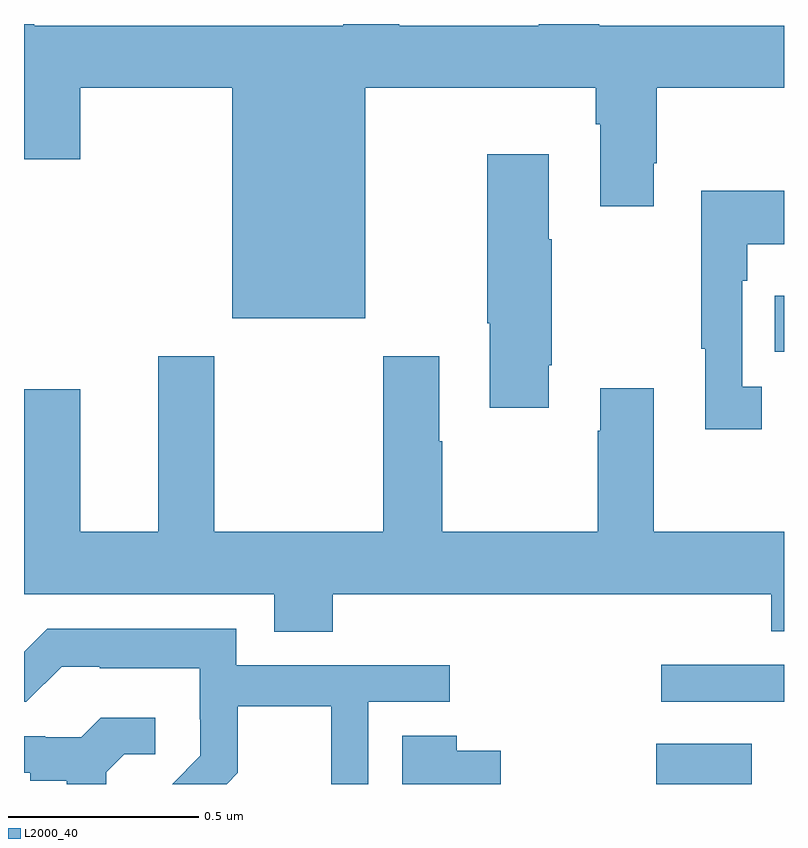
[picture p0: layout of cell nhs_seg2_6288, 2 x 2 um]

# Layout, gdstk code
import gdstk
lib = gdstk.Library(unit=1e-6, precision=1e-09)
def R(c, l, rs):  # rectangles x0, y0, x1, y1
    for r in rs: c.add(gdstk.rectangle(r[:2], r[2:], *l))
def P(c, l, *ps):  # polygons
    for p in ps: c.add(gdstk.Polygon(p, *l))
L2000_40 = (2000, 40)

nhs_seg2_6288 = lib.new_cell('nhs_seg2_6288')
R(nhs_seg2_6288, L2000_40, [(190.664,649.8,190.915,649.906), (190.677,650.016,191,650.114), (190.975,650.938,191,651.085)])
P(nhs_seg2_6288, L2000_40, [(189.898,651.632),(190.505,651.632),(190.505,651.536),(190.517,651.536),(190.517,651.321),(190.657,651.321),(190.657,651.433),(190.665,651.433),(190.665,651.632),(191,651.632),(191,651.796),(190.514,651.796),(190.514,651.8),(190.354,651.8),(190.354,651.796),(189.987,651.796),(189.987,651.8),(189.84,651.8),(189.84,651.796),(189.027,651.796),(189.027,651.8),(189,651.8),(189,651.444),(189.148,651.444),(189.148,651.632),(189.548,651.632),(189.548,651.026),(189.898,651.026)],
  [(190.381,650.902),(190.389,650.902),(190.389,651.233),(190.381,651.233),(190.381,651.457),(190.219,651.457),(190.219,651.013),(190.226,651.013),(190.226,650.79),(190.381,650.79)],
  [(190.942,650.846),(190.89,650.846),(190.89,651.125),(190.903,651.125),(190.903,651.221),(191,651.221),(191,651.361),(190.782,651.361),(190.782,650.945),(190.793,650.945),(190.793,650.733),(190.942,650.733)],
  [(189.812,650.3),(190.967,650.3),(190.967,650.202),(191,650.202),(191,650.464),(190.657,650.464),(190.657,650.842),(190.517,650.842),(190.517,650.729),(190.51,650.729),(190.51,650.464),(190.101,650.464),(190.101,650.702),(190.093,650.702),(190.093,650.926),(189.946,650.926),(189.946,650.464),(189.501,650.464),(189.501,650.926),(189.353,650.926),(189.353,650.464),(189.148,650.464),(189.148,650.839),(189,650.839),(189,650.3),(189.659,650.3),(189.659,650.201),(189.812,650.201)],
  [(189.563,649.829),(189.563,650.004),(189.808,650.004),(189.808,649.8),(189.906,649.8),(189.906,650.016),(190.12,650.016),(190.12,650.112),(189.558,650.112),(189.558,650.209),(189.061,650.209),(189,650.148),(189,650.016),(189.006,650.016),(189.099,650.109),(189.199,650.109),(189.199,650.105),(189.462,650.105),(189.462,649.971),(189.464,649.971),(189.464,649.874),(189.39,649.8),(189.534,649.8)],
  [(189.217,649.831),(189.264,649.878),(189.346,649.878),(189.346,649.975),(189.202,649.975),(189.15,649.923),(189.056,649.923),(189.056,649.926),(189,649.926),(189,649.83),(189.017,649.83),(189.017,649.808),(189.113,649.808),(189.113,649.8),(189.217,649.8)],
  [(190.255,649.888),(190.139,649.888),(190.139,649.927),(189.995,649.927),(189.995,649.8),(190.255,649.8)])

lib.write_gds('nhs_seg2_6288.gds')
